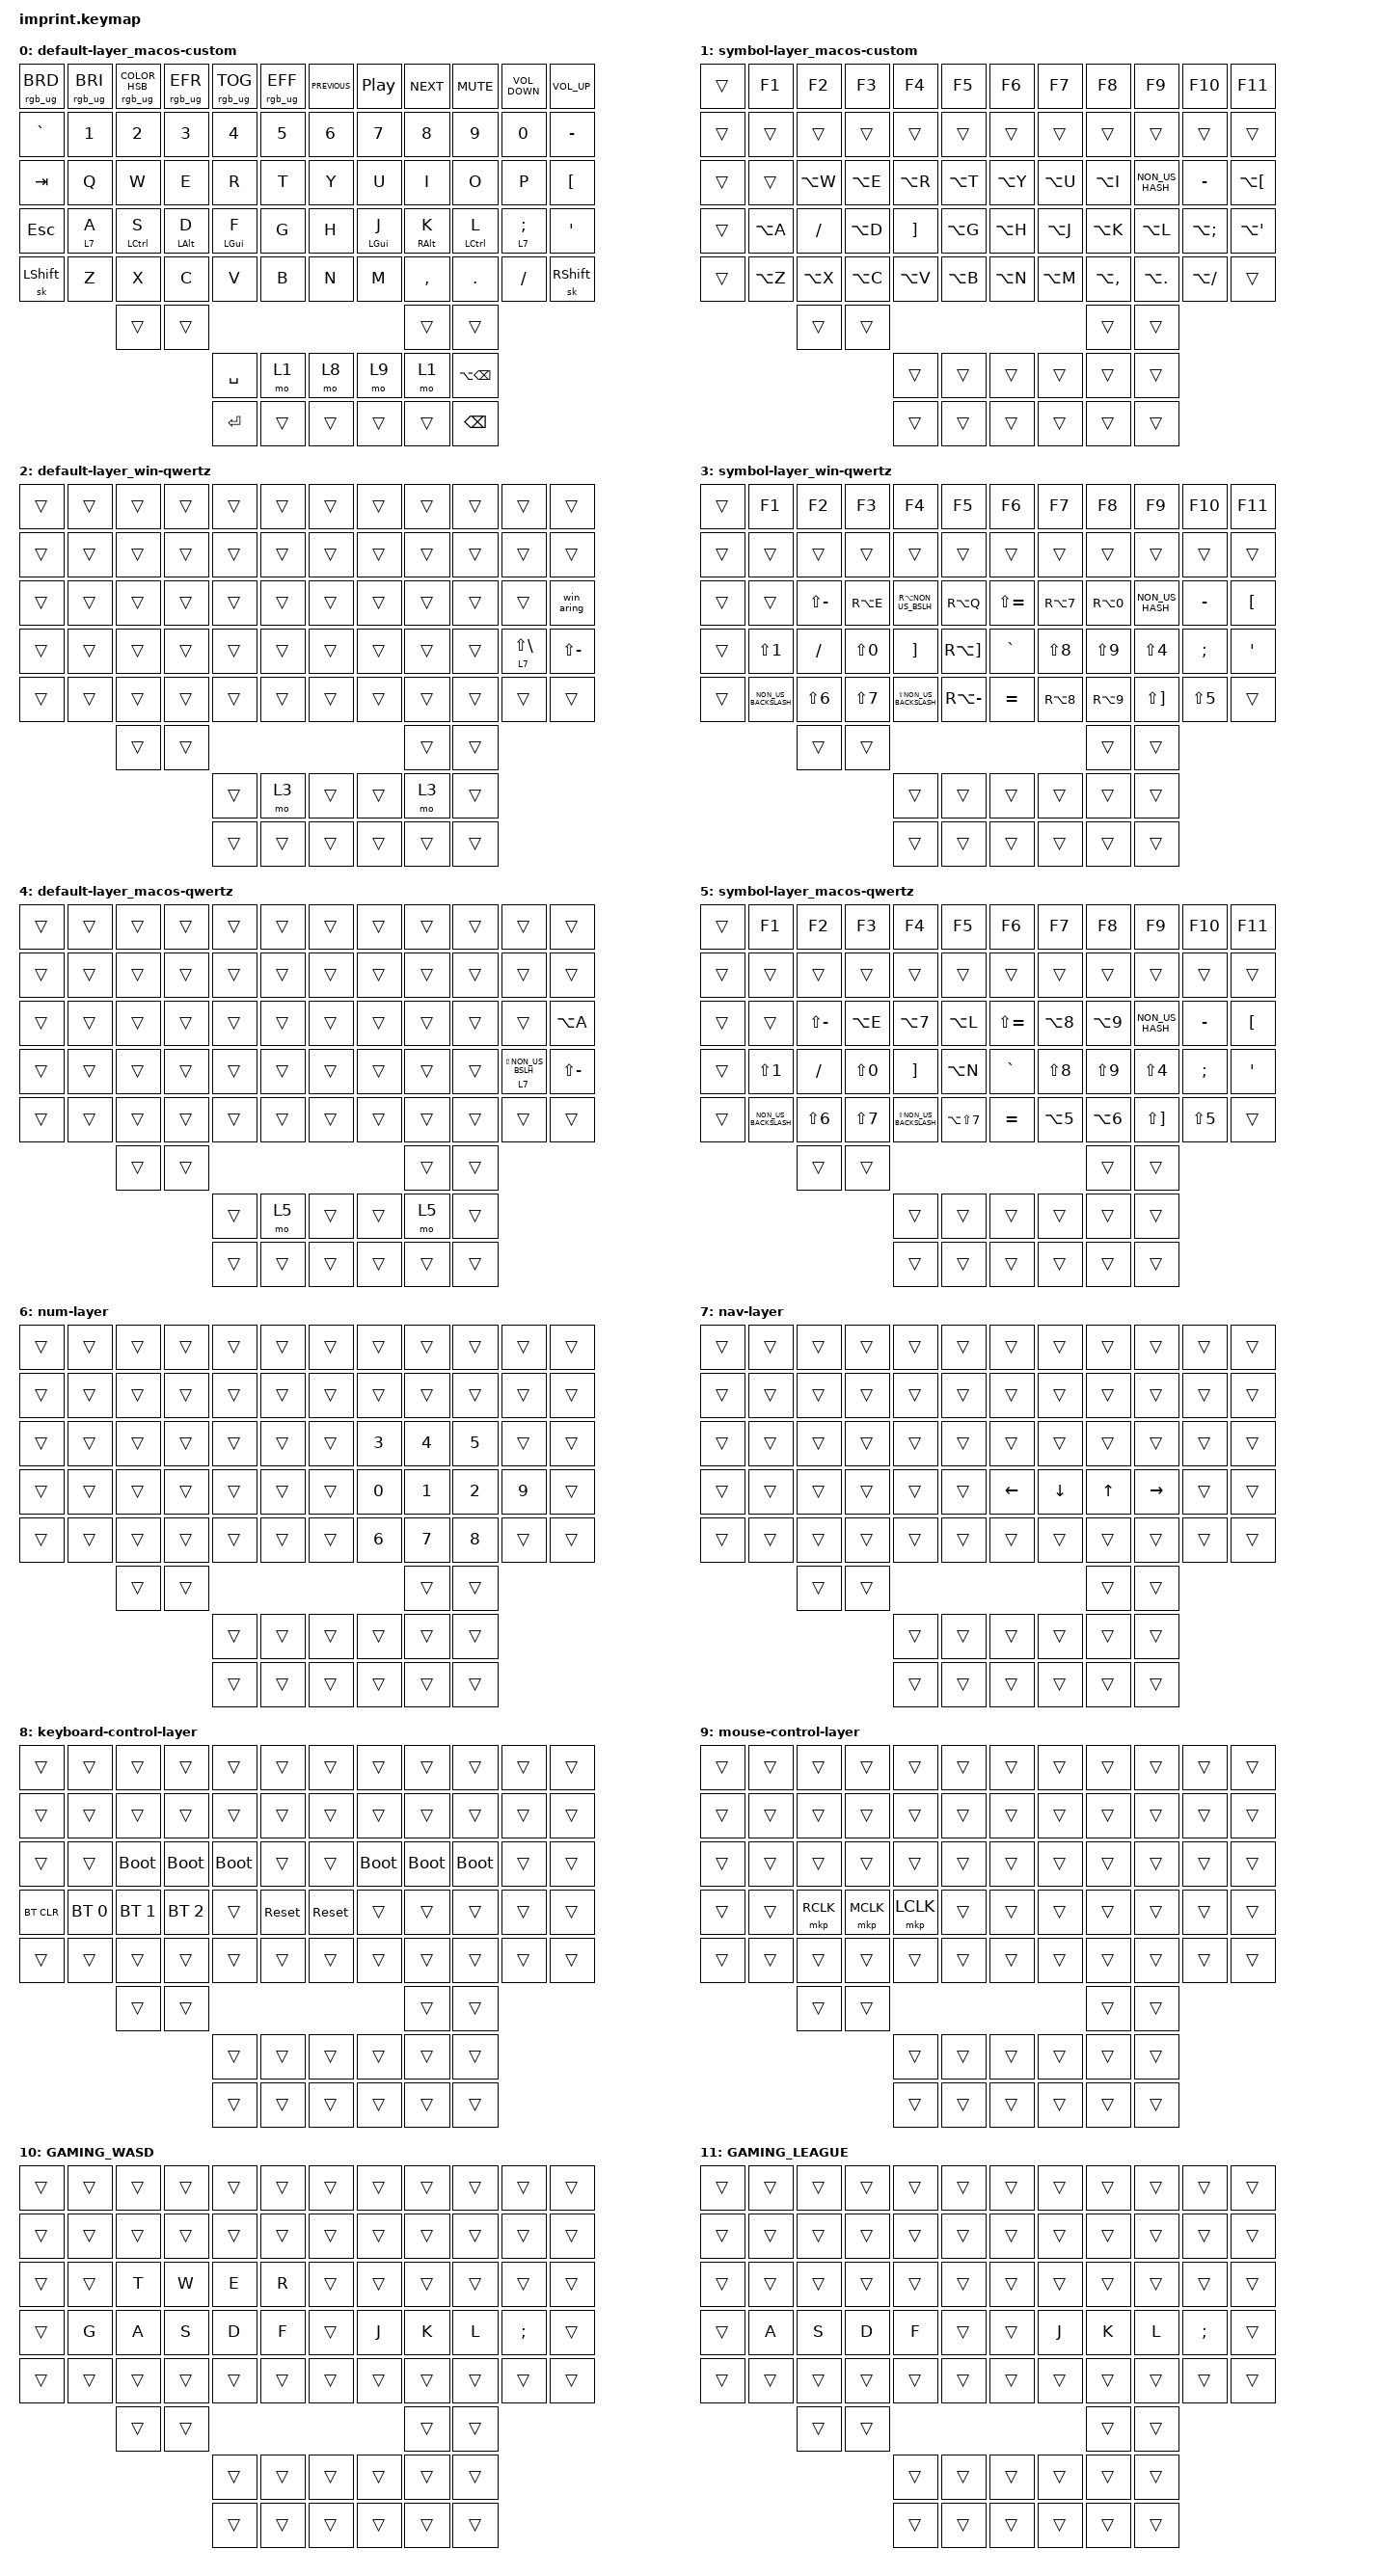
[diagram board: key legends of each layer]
#include <input/processors.dtsi>
#include <dt-bindings/zmk/input_transform.h>
#include <behaviors.dtsi>
#include <dt-bindings/zmk/bt.h>
#include <dt-bindings/zmk/keys.h>
#include <dt-bindings/zmk/pointing.h>
#include <dt-bindings/zmk/rgb.h>

&sk {
    quick-release;
    release-after-ms = <500>;
};

/ {
    chosen { zmk,matrix-transform = &imprint_function_row; };

    behaviors {
        layer_hold_or_toggle: layer_hold_or_toggle {
            compatible = "zmk,behavior-hold-tap";
            label = "LAYER_HOLD_OR_TOGGLE";
            bindings = <&mo>, <&tog>;

            #binding-cells = <2>;
            tapping-term-ms = <200>;
        };

        caps_word_tap: caps_word_tap {
            compatible = "zmk,behavior-hold-tap";
            label = "CAPS_WORD_TAP";
            bindings = <&kp>, <&caps_word>;

            #binding-cells = <2>;
            tapping-term-ms = <200>;
            flavor = "hold-preferred";
        };

        lhr_mods: lhr_mods {
            compatible = "zmk,behavior-hold-tap";
            label = "LHR_MODS";
            bindings = <&kp>, <&kp>;

            #binding-cells = <2>;
            quick-tap-ms = <100>;
            tapping-term-ms = <180>;
            require-prior-idle-ms = <60>;
            flavor = "balanced";
            hold-trigger-key-positions = <6 7 8 9 10 11 18 19 20 21 22 23 30 31 32 33 34 35 42 43 44 45 46 47 54 55 56 57 58 59 62 63 69 75 64 65 66 67 68 69 70 71 72 73 74 75 48 36 24>;
            hold-trigger-on-release;
        };

        rhr_mods: rhr_mods {
            compatible = "zmk,behavior-hold-tap";
            label = "RHR_MODS";
            bindings = <&kp>, <&kp>;

            #binding-cells = <2>;
            quick-tap-ms = <100>;
            tapping-term-ms = <180>;
            require-prior-idle-ms = <60>;
            flavor = "balanced";
            hold-trigger-on-release;
            hold-trigger-key-positions = <0 1 2 3 4 5 12 13 14 15 16 17 24 25 26 27 28 29 36 37 38 39 40 41 48 49 50 51 52 53 60 61 64 65 64 65 66 67 68 69 70 71 72 73 74 75 59>;
        };

        chord_1_the: chord_1_the {
            compatible = "zmk,behavior-mod-morph";
            label = "CHORD_1_THE";
            bindings = <&token_1_the>, <&token_2_The>;

            #binding-cells = <0>;
            mods = <(MOD_LSFT)>;
        };

        hr_arrows: hr_arrows {
            compatible = "zmk,behavior-hold-tap";
            label = "HR_ARROWS";
            bindings = <&mo>, <&kp>;

            #binding-cells = <2>;
            quick-tap-ms = <100>;
            tapping-term-ms = <180>;
            require-prior-idle-ms = <60>;
            flavor = "balanced";
            hold-trigger-on-release;
            hold-trigger-key-positions = <59 45 44 43 42 37 38 39 40 48>;
        };

        hr_numbers: hr_numbers {
            compatible = "zmk,behavior-hold-tap";
            label = "HR_NUMBERS";
            bindings = <&mo>, <&kp>;

            #binding-cells = <2>;
            quick-tap-ms = <175>;
            tapping-term-ms = <280>;
            require-prior-idle-ms = <120>;
            flavor = "balanced";
            hold-trigger-on-release;
            hold-trigger-key-positions = <31 32 33 43 44 45 55 56 57 46>;
        };
    };

    combos {
        compatible = "zmk,combos";

        toggle_win-qwertz-layers {
            bindings = <&tog 2>;
            key-positions = <51 56>;
        };

        chord_1 {
            bindings = <&chord_1_the>;
            key-positions = <39 44>;
        };

        combo_shift {
            bindings = <&caps_word>;
            key-positions = <48 59>;
        };

        toggle_gaming_wasd {
            bindings = <&tog 10>;
            key-positions = <52 55>;
        };

        toggle_macos-qwertz-layers {
            bindings = <&tog 4>;
            key-positions = <50 57>;
        };

        toggle_gaming_league {
            bindings = <&tog 11>;
            key-positions = <53 54>;
        };
    };

    macros {
        token_1_the: token_1_the {
            compatible = "zmk,behavior-macro";
            #binding-cells = <0>;
            bindings =
                <&macro_tap>,
                <&kp T &kp H &kp E &kp SPACE &none>,
                <&macro_pause_for_release>;

            label = "TOKEN_1_THE";
            wait-ms = <0>;
            tap-ms = <0>;
        };

        token_2_The: token_2_The {
            compatible = "zmk,behavior-macro";
            #binding-cells = <0>;
            bindings = <&macro_tap>, <&kp LS(T) &kp H &kp E &kp SPACE>;

            label = "TOKEN_2_THE";
        };

        win_aring: win_aring {
            compatible = "zmk,behavior-macro";
            #binding-cells = <0>;
            bindings =
                <&macro_tap>,
                <&kp RA(NUMBER_1) &kp RA(NUMBER_3) &kp RA(NUMBER_4)>;

            label = "WIN_ARING";
        };
    };

    keymap {
        compatible = "zmk,keymap";

        default-layer_macos-custom {
            bindings = <
&rgb_ug RGB_BRD  &rgb_ug RGB_BRI  &rgb_ug RGB_COLOR_HSB(0,100,5)  &rgb_ug RGB_EFR       &rgb_ug RGB_TOG       &rgb_ug RGB_EFF            &kp C_PREVIOUS  &kp C_PLAY_PAUSE      &kp C_NEXT             &kp C_MUTE                &kp C_VOLUME_DOWN       &kp C_VOLUME_UP
&kp GRAVE        &kp N1           &kp N2                          &kp N3                &kp N4                &kp N5                     &kp N6          &kp N7                &kp N8                 &kp N9                    &kp N0                  &kp MINUS
&kp TAB          &kp Q            &kp W                           &kp E                 &kp R                 &kp T                      &kp Y           &kp U                 &kp I                  &kp O                     &kp P                   &kp LEFT_BRACKET
&kp ESCAPE       &hr_numbers 7 A  &lhr_mods LEFT_CONTROL S        &lhr_mods LEFT_ALT D  &lhr_mods LEFT_GUI F  &kp G                      &kp H           &rhr_mods LEFT_GUI J  &rhr_mods RIGHT_ALT K  &rhr_mods LEFT_CONTROL L  &hr_arrows 7 SEMICOLON  &kp SINGLE_QUOTE
&sk LEFT_SHIFT   &kp Z            &kp X                           &kp C                 &kp V                 &kp B                      &kp N           &kp M                 &kp COMMA              &kp DOT                   &kp SLASH               &sk RIGHT_SHIFT
                                  &trans                          &trans                                                                                                       &trans                 &trans
                                                                                        &kp SPACE             &mo 1            &mo 8     &mo 9           &mo 1                 &kp LA(BACKSPACE)
                                                                                        &kp ENTER             &trans           &trans    &trans          &trans                &kp BACKSPACE
            >;
        };

        symbol-layer_macos-custom {
            bindings = <
&trans  &kp F1     &kp F2     &kp F3     &kp F4             &kp F5               &kp F6     &kp F7     &kp F8         &kp F9           &kp F10            &kp F11
&trans  &trans     &trans     &trans     &trans             &trans               &trans     &trans     &trans         &trans           &trans             &trans
&trans  &trans     &kp LA(W)  &kp LA(E)  &kp LA(R)          &kp LA(T)            &kp LA(Y)  &kp LA(U)  &kp LA(I)      &kp NON_US_HASH  &kp MINUS          &kp LA(LEFT_BRACKET)
&trans  &kp LA(A)  &kp SLASH  &kp LA(D)  &kp RIGHT_BRACKET  &kp LA(G)            &kp LA(H)  &kp LA(J)  &kp LA(K)      &kp LA(L)        &kp LA(SEMICOLON)  &kp LA(SINGLE_QUOTE)
&trans  &kp LA(Z)  &kp LA(X)  &kp LA(C)  &kp LA(V)          &kp LA(B)            &kp LA(N)  &kp LA(M)  &kp LA(COMMA)  &kp LA(DOT)      &kp LA(SLASH)      &trans
                   &trans     &trans                                                                   &trans         &trans
                                         &trans             &trans     &trans    &trans     &trans     &trans
                                         &trans             &trans     &trans    &trans     &trans     &trans
            >;
        };

        default-layer_win-qwertz {
            bindings = <
&trans  &trans  &trans  &trans  &trans  &trans            &trans  &trans  &trans  &trans  &trans                      &trans
&trans  &trans  &trans  &trans  &trans  &trans            &trans  &trans  &trans  &trans  &trans                      &trans
&trans  &trans  &trans  &trans  &trans  &trans            &trans  &trans  &trans  &trans  &trans                      &win_aring
&trans  &trans  &trans  &trans  &trans  &trans            &trans  &trans  &trans  &trans  &hr_arrows 7 LS(BACKSLASH)  &kp LS(MINUS)
&trans  &trans  &trans  &trans  &trans  &trans            &trans  &trans  &trans  &trans  &trans                      &trans
                &trans  &trans                                            &trans  &trans
                                &trans  &mo 3   &trans    &trans  &mo 3   &trans
                                &trans  &trans  &trans    &trans  &trans  &trans
            >;
        };

        symbol-layer_win-qwertz {
            bindings = <
&trans  &kp F1                &kp F2            &kp F3            &kp F4                    &kp F5                           &kp F6         &kp F7            &kp F8            &kp F9                 &kp F10           &kp F11
&trans  &trans                &trans            &trans            &trans                    &trans                           &trans         &trans            &trans            &trans                 &trans            &trans
&trans  &trans                &kp LS(MINUS)     &kp RA(E)         &kp RA(NON_US_BSLH)       &kp RA(Q)                        &kp LS(EQUAL)  &kp RA(NUMBER_7)  &kp RA(NUMBER_0)  &kp NON_US_HASH        &kp MINUS         &kp LEFT_BRACKET
&trans  &kp LS(NUMBER_1)      &kp SLASH         &kp LS(NUMBER_0)  &kp RIGHT_BRACKET         &kp RA(RIGHT_BRACKET)            &kp GRAVE      &kp LS(NUMBER_8)  &kp LS(NUMBER_9)  &kp LS(NUMBER_4)       &kp SEMICOLON     &kp SINGLE_QUOTE
&trans  &kp NON_US_BACKSLASH  &kp LS(NUMBER_6)  &kp LS(NUMBER_7)  &kp LS(NON_US_BACKSLASH)  &kp RA(MINUS)                    &kp EQUAL      &kp RA(NUMBER_8)  &kp RA(NUMBER_9)  &kp LS(RIGHT_BRACKET)  &kp LS(NUMBER_5)  &trans
                              &trans            &trans                                                                                                        &trans            &trans
                                                                  &trans                    &trans                 &trans    &trans         &trans            &trans
                                                                  &trans                    &trans                 &trans    &trans         &trans            &trans
            >;
        };

        default-layer_macos-qwertz {
            bindings = <
&trans  &trans  &trans  &trans  &trans  &trans            &trans  &trans  &trans  &trans  &trans                        &trans
&trans  &trans  &trans  &trans  &trans  &trans            &trans  &trans  &trans  &trans  &trans                        &trans
&trans  &trans  &trans  &trans  &trans  &trans            &trans  &trans  &trans  &trans  &trans                        &kp LA(A)
&trans  &trans  &trans  &trans  &trans  &trans            &trans  &trans  &trans  &trans  &hr_arrows 7 LS(NON_US_BSLH)  &kp LS(MINUS)
&trans  &trans  &trans  &trans  &trans  &trans            &trans  &trans  &trans  &trans  &trans                        &trans
                &trans  &trans                                            &trans  &trans
                                &trans  &mo 5   &trans    &trans  &mo 5   &trans
                                &trans  &trans  &trans    &trans  &trans  &trans
            >;
        };

        symbol-layer_macos-qwertz {
            bindings = <
&trans  &kp F1                &kp F2            &kp F3            &kp F4                    &kp F5                          &kp F6         &kp F7            &kp F8            &kp F9                 &kp F10           &kp F11
&trans  &trans                &trans            &trans            &trans                    &trans                          &trans         &trans            &trans            &trans                 &trans            &trans
&trans  &trans                &kp LS(MINUS)     &kp LA(E)         &kp LA(NUMBER_7)          &kp LA(L)                       &kp LS(EQUAL)  &kp LA(NUMBER_8)  &kp LA(NUMBER_9)  &kp NON_US_HASH        &kp MINUS         &kp LEFT_BRACKET
&trans  &kp LS(NUMBER_1)      &kp SLASH         &kp LS(NUMBER_0)  &kp RIGHT_BRACKET         &kp LA(N)                       &kp GRAVE      &kp LS(NUMBER_8)  &kp LS(NUMBER_9)  &kp LS(NUMBER_4)       &kp SEMICOLON     &kp SINGLE_QUOTE
&trans  &kp NON_US_BACKSLASH  &kp LS(NUMBER_6)  &kp LS(NUMBER_7)  &kp LS(NON_US_BACKSLASH)  &kp LA(LS(NUMBER_7))            &kp EQUAL      &kp LA(NUMBER_5)  &kp LA(NUMBER_6)  &kp LS(RIGHT_BRACKET)  &kp LS(NUMBER_5)  &trans
                              &trans            &trans                                                                                                       &trans            &trans
                                                                  &trans                    &trans                &trans    &trans         &trans            &trans
                                                                  &trans                    &trans                &trans    &trans         &trans            &trans
            >;
        };

        num-layer {
            bindings = <
&trans  &trans  &trans  &trans  &trans  &trans            &trans  &trans        &trans        &trans        &trans        &trans
&trans  &trans  &trans  &trans  &trans  &trans            &trans  &trans        &trans        &trans        &trans        &trans
&trans  &trans  &trans  &trans  &trans  &trans            &trans  &kp NUMBER_3  &kp NUMBER_4  &kp NUMBER_5  &trans        &trans
&trans  &trans  &trans  &trans  &trans  &trans            &trans  &kp NUMBER_0  &kp NUMBER_1  &kp NUMBER_2  &kp NUMBER_9  &trans
&trans  &trans  &trans  &trans  &trans  &trans            &trans  &kp NUMBER_6  &kp NUMBER_7  &kp NUMBER_8  &trans        &trans
                &trans  &trans                                                  &trans        &trans
                                &trans  &trans  &trans    &trans  &trans        &trans
                                &trans  &trans  &trans    &trans  &trans        &trans
            >;
        };

        nav-layer {
            bindings = <
&trans  &trans  &trans  &trans  &trans  &trans            &trans          &trans          &trans        &trans           &trans  &trans
&trans  &trans  &trans  &trans  &trans  &trans            &trans          &trans          &trans        &trans           &trans  &trans
&trans  &trans  &trans  &trans  &trans  &trans            &trans          &trans          &trans        &trans           &trans  &trans
&trans  &trans  &trans  &trans  &trans  &trans            &kp LEFT_ARROW  &kp DOWN_ARROW  &kp UP_ARROW  &kp RIGHT_ARROW  &trans  &trans
&trans  &trans  &trans  &trans  &trans  &trans            &trans          &trans          &trans        &trans           &trans  &trans
                &trans  &trans                                                            &trans        &trans
                                &trans  &trans  &trans    &trans          &trans          &trans
                                &trans  &trans  &trans    &trans          &trans          &trans
            >;
        };

        keyboard-control-layer {
            bindings = <
&trans      &trans        &trans        &trans        &trans       &trans                &trans      &trans       &trans       &trans       &trans  &trans
&trans      &trans        &trans        &trans        &trans       &trans                &trans      &trans       &trans       &trans       &trans  &trans
&trans      &trans        &bootloader   &bootloader   &bootloader  &trans                &trans      &bootloader  &bootloader  &bootloader  &trans  &trans
&bt BT_CLR  &bt BT_SEL 0  &bt BT_SEL 1  &bt BT_SEL 2  &trans       &sys_reset            &sys_reset  &trans       &trans       &trans       &trans  &trans
&trans      &trans        &trans        &trans        &trans       &trans                &trans      &trans       &trans       &trans       &trans  &trans
                          &trans        &trans                                                                    &trans       &trans
                                                      &trans       &trans      &trans    &trans      &trans       &trans
                                                      &trans       &trans      &trans    &trans      &trans       &trans
            >;
        };

        mouse-control-layer {
            bindings = <
&trans  &trans  &trans     &trans     &trans     &trans            &trans  &trans  &trans  &trans  &trans  &trans
&trans  &trans  &trans     &trans     &trans     &trans            &trans  &trans  &trans  &trans  &trans  &trans
&trans  &trans  &trans     &trans     &trans     &trans            &trans  &trans  &trans  &trans  &trans  &trans
&trans  &trans  &mkp RCLK  &mkp MCLK  &mkp LCLK  &trans            &trans  &trans  &trans  &trans  &trans  &trans
&trans  &trans  &trans     &trans     &trans     &trans            &trans  &trans  &trans  &trans  &trans  &trans
                &trans     &trans                                                  &trans  &trans
                                      &trans     &trans  &trans    &trans  &trans  &trans
                                      &trans     &trans  &trans    &trans  &trans  &trans
            >;
        };

        GAMING_WASD {
            bindings = <
&trans  &trans  &trans  &trans  &trans  &trans            &trans  &trans  &trans  &trans  &trans    &trans
&trans  &trans  &trans  &trans  &trans  &trans            &trans  &trans  &trans  &trans  &trans    &trans
&trans  &trans  &kp T   &kp W   &kp E   &kp R             &trans  &trans  &trans  &trans  &trans    &trans
&trans  &kp G   &kp A   &kp S   &kp D   &kp F             &trans  &kp J   &kp K   &kp L   &kp SEMI  &trans
&trans  &trans  &trans  &trans  &trans  &trans            &trans  &trans  &trans  &trans  &trans    &trans
                &trans  &trans                                            &trans  &trans
                                &trans  &trans  &trans    &trans  &trans  &trans
                                &trans  &trans  &trans    &trans  &trans  &trans
            >;
        };

        GAMING_LEAGUE {
            bindings = <
&trans  &trans  &trans  &trans  &trans  &trans            &trans  &trans  &trans  &trans  &trans         &trans
&trans  &trans  &trans  &trans  &trans  &trans            &trans  &trans  &trans  &trans  &trans         &trans
&trans  &trans  &trans  &trans  &trans  &trans            &trans  &trans  &trans  &trans  &trans         &trans
&trans  &kp A   &kp S   &kp D   &kp F   &trans            &trans  &kp J   &kp K   &kp L   &kp SEMICOLON  &trans
&trans  &trans  &trans  &trans  &trans  &trans            &trans  &trans  &trans  &trans  &trans         &trans
                &trans  &trans                                            &trans  &trans
                                &trans  &trans  &trans    &trans  &trans  &trans
                                &trans  &trans  &trans    &trans  &trans  &trans
            >;
        };
    };
};

//right hand trackball configuration

&trackball_peripheral_listener {
    input-processors =
        // activate layer 8 within 500ms of the trackball moving,,,,,,,,,,,,,,,,,,,,,,,,,,,,,,,,,,,,,,,,,,,,,,,,,,,,,,,,,,,
        <&zip_temp_layer 9 500>;
};

//left hand trackball configuration

&trackball_central_listener {
    input-processors =
        // multiply sensitivity by 1, divide by 5 (make it slower for scrolling),,,,,,,,,,,,,,,,,,,,,,,,,,,,,,,,,,,,,,,,,,,,,,,,,,,,,,,,,,,,,,,,,,,,,
        <&zip_xy_scaler 1 5>,
        // make this trackball output scrolling events by default instead of cursor movement,,,,,,,,,,,,,,,,,,,,,,,,,,,,,,,,,,,,,,,,,,,,,,,,,,,,,,,,,,,,,,,,,,,,,
        <&zip_xy_to_scroll_mapper>,
        <&zip_scroll_scaler 1 15>,
        // This specifically scales the scroll events,,,,,,,,,,,,,,,,,,,,,,,,,,,,,,,,,,,,,,,,,,,,,,,,,,,,,,,,,,,
        // invert vertical scrolling so that the view moves in the same direction as the top of the trackball.,,,,,,,,,,,,,,,,,,,,,,,,,,,,,,,,,,,,,,,,,,,,,,,,,,,,,,,,,,,,,,,,,,,,,
        <&zip_scroll_transform INPUT_TRANSFORM_Y_INVERT>;
};
